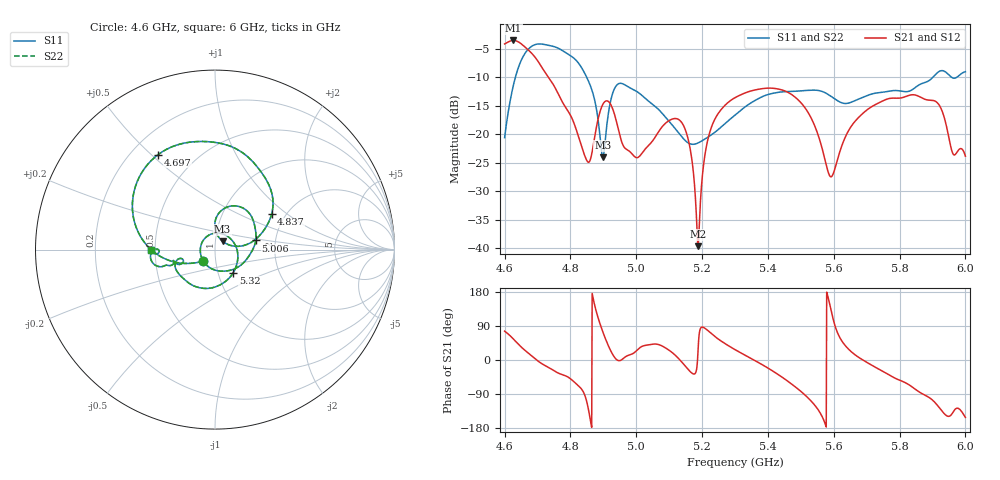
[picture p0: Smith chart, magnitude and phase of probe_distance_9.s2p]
! TOUCHSTONE file generated by CST MICROWAVE STUDIO
! Date and time: Sat Nov 30 13:10:58 2024
! Project name: test_tuning.cst
! Parameters = {airCoaxOuterDiameter=3; chamferAngle=45; chamferWidth=24; connectorLength=10; drillingHoleDiameter=4.1; feedLength=60; flareDiameter=130; flareLength=70; gratingDistance=0; gratingGap=1.90274; outletLength=30; polarizerLength=134; probe1Diameter=1.3; probe1Distance=12; probe1Length=1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
! Header version: 2024
! Port assignment regex: !\s*Touchstone port\s*([0-9]+)\s*=\s*(CST MWS port|CST DES external port|CST DES block port)\s*(.+)\s* \(\"(.*)\"\)(\s*mode\s*([0-9]+))?.*
! Touchstone port assignment:
! Touchstone port 1 = CST MWS port 1 ("Input1")
! Touchstone port 2 = CST MWS port 2 ("Input2")
# GHz S MA R 50
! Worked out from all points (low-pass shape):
!   1001 points, 4.6 GHz to 6 GHz, reference 50 ohm
!   highest |S21| = -3.53 dB at 4.627 GHz (marker M1); lowest = -39.6 dB at 5.188 GHz (marker M2)
!   |S21| within 3 dB of the highest: start of sweep to 4.693 GHz
!   lowest |S11| = -24.0 dB at 4.898 GHz (marker M3), VSWR 1.13, Z = 54.1 + j5.08 ohm
!   |S11| at or under -10 dB: start of sweep to 4.633 GHz; 4.849 GHz to 5.901 GHz (1.052 GHz wide, 19.6 % of centre); 5.958171 GHz to 5.973649 GHz (15.48 MHz wide, 0.259 % of centre)
!   |S22| runs from -24.0 to -4.1 dB; largest |S21 - S12| = 2e-06
!   S11 on the Smith chart (normalised r, x): 4.6 GHz: 0.87, -0.11; 4.697 GHz: 0.31, +0.53; 4.837 GHz: 1.70, +0.78; 5.006 GHz: 1.58, +0.17; 5.32 GHz: 1.18, -0.31; 6 GHz: 0.48, -0.00
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4.6  0.09339 -135.9  0.6207 76.2  0.6207 76.2  0.09338 -135.9
4.6266  0.2688 -167.5  0.6662 55.4  0.6662 55.4  0.2688 -167.5
4.6966  0.6169 120.8  0.4579 0.5  0.4579 0.5  0.6169 120.8
4.7554  0.5815 81.3  0.25 -31.0  0.25 -31.0  0.5815 81.3
4.8338  0.3844 33.9  0.07792 -76.9  0.07792 -76.9  0.3844 33.9
4.8366  0.3725 32.1  0.07367 -80.4  0.07367 -80.4  0.3725 32.1
4.859  0.2739 19.2  0.05838 -150.5  0.05838 -150.5  0.2739 19.2
4.8982  0.06283 48.1  0.1824 74.7  0.1824 74.7  0.06283 48.1
4.9374  0.2624 68.2  0.1375 3.5  0.1375 3.5  0.2624 68.2
5.006  0.2328 12.7  0.06281 28.9  0.06281 28.9  0.2328 12.7
5.0676  0.1651 -33.5  0.105 40.8  0.105 40.8  0.1651 -33.5
5.146  0.08969 -140.1  0.1152 -13.3  0.1152 -13.3  0.0897 -140.1
5.188  0.08392 136.4  0.01041 29.9  0.01041 29.9  0.08392 136.4
5.223  0.09654 66.5  0.1034 73.5  0.1034 73.5  0.09654 66.5
5.3  0.1473 -35.0  0.2095 27.3  0.2095 27.3  0.1473 -35.0
5.3196  0.1642 -51.9  0.2234 17.9  0.2234 17.9  0.1642 -51.9
5.5338  0.2439 -150.2  0.1344 -110.7  0.1344 -110.7  0.2439 -150.2
5.5926  0.2144 -165.3  0.04238 128.8  0.04238 128.8  0.2144 -165.3
5.6584  0.194 -157.7  0.1233 18.1  0.1233 18.1  0.194 -157.7
5.7676  0.2389 -162.8  0.2057 -38.9  0.2057 -38.9  0.2389 -162.8
5.9104  0.3376 -164.4  0.1936 -114.9  0.1936 -114.9  0.3376 -164.4
6  0.3542 -180.0  0.06424 -151.5  0.06424 -151.5  0.3542 -180.0
